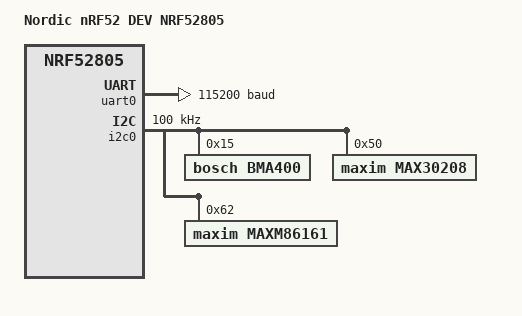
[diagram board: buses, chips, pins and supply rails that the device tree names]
/*
 * Copyright (c) 2020 Nordic Semiconductor ASA
 *
 * SPDX-License-Identifier: Apache-2.0
 */

/dts-v1/;
#include <nordic/nrf52805_caaa.dtsi>
#include "nrf52_dev_nrf52805-pinctrl.dtsi"

/ {
	model = "Nordic nRF52 DEV NRF52805";
	compatible = "nordic,nrf52-dk-nrf52805";

	chosen {
		zephyr,console = &uart0;
		zephyr,sram = &sram0;
		zephyr,flash = &flash0;
		zephyr,code-partition = &slot0_partition;
	};

	aliases {
		i2c0 = &i2c0;
	};
};

&reg {
	regulator-initial-mode = <NRF5X_REG_MODE_DCDC>;
};

&uicr {
	gpio-as-nreset;
};

&gpio0 {
	status = "okay";
};

&gpiote {
	status = "okay";
};

&uart0 {
	compatible = "nordic,nrf-uarte";
	status = "okay";
	current-speed = <115200>;
	pinctrl-0 = <&uart0_default>;
	pinctrl-1 = <&uart0_sleep>;
	pinctrl-names = "default", "sleep";
};

&i2c0 {
	compatible = "nordic,nrf-twi";
	status = "okay";
	clock-frequency = <I2C_BITRATE_STANDARD>;
	pinctrl-0 = <&i2c0_default>;
	pinctrl-1 = <&i2c0_sleep>;
	pinctrl-names = "default", "sleep";

	/* I2C sensors */
	bma400: bma400@15 {
		compatible = "bosch,bma400";
		reg = <0x15>;
		label = "BMA400";
		status = "okay";
	};

	max30208: max30208@50 {
		compatible = "maxim,max30208";
		reg = <0x50>;
		label = "MAX30208";
		status = "okay";
	};

	maxm86161: maxm86161@62 {
		compatible = "maxim,maxm86161";
		reg = <0x62>;
		label = "MAXM86161";
		status = "okay";
	};
};

&flash0 {
	partitions {
		compatible = "fixed-partitions";
		#address-cells = <1>;
		#size-cells = <1>;

		boot_partition: partition@0 {
			label = "mcuboot";
			reg = <0x00000000 0xc000>;
		};

		slot0_partition: partition@c000 {
			label = "image-0";
			reg = <0x0000C000 0xe000>;
		};

		slot1_partition: partition@1a000 {
			label = "image-1";
			reg = <0x0001a000 0xe000>;
		};

		storage_partition: partition@28000 {
			label = "storage";
			reg = <0x00028000 0x00008000>;
		};
	};
};
